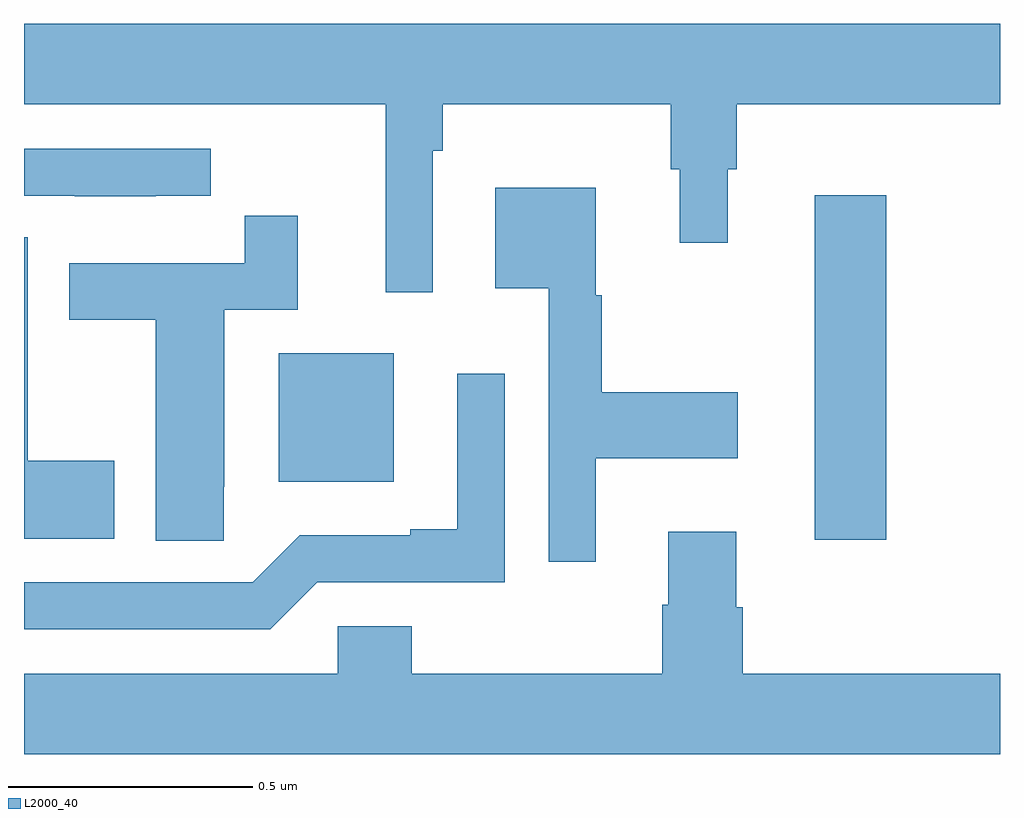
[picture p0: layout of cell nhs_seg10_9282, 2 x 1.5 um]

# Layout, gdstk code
import gdstk
lib = gdstk.Library(unit=1e-6, precision=1e-09)
def R(c, l, rs):  # rectangles x0, y0, x1, y1
    for r in rs: c.add(gdstk.rectangle(r[:2], r[2:], *l))
def P(c, l, *ps):  # polygons
    for p in ps: c.add(gdstk.Polygon(p, *l))
L2000_40 = (2000, 40)

nhs_seg10_9282 = lib.new_cell('nhs_seg10_9282')
R(nhs_seg10_9282, L2000_40, [(228.62,1311.411,228.767,1312.117), (227.522,1311.53,227.758,1311.793)])
P(nhs_seg10_9282, L2000_40, [(227.838,1312.208),(227.858,1312.208),(227.858,1312.304),(228.325,1312.304),(228.325,1312.17),(228.344,1312.17),(228.344,1312.02),(228.442,1312.02),(228.442,1312.17),(228.461,1312.17),(228.461,1312.304),(229,1312.304),(229,1312.468),(227,1312.468),(227,1312.304),(227.741,1312.304),(227.741,1311.918),(227.838,1311.918)],
  [(227.27,1312.116),(227.383,1312.116),(227.383,1312.212),(227,1312.212),(227,1312.116),(227.104,1312.116),(227.104,1312.115),(227.27,1312.115)],
  [(228.172,1311.578),(228.463,1311.578),(228.463,1311.713),(228.184,1311.713),(228.184,1311.912),(228.172,1311.912),(228.172,1312.132),(227.966,1312.132),(227.966,1311.926),(228.075,1311.926),(228.075,1311.366),(228.172,1311.366)],
  [(227.409,1311.52),(227.41,1311.52),(227.41,1311.882),(227.561,1311.882),(227.561,1312.075),(227.452,1312.075),(227.452,1311.978),(227.093,1311.978),(227.093,1311.862),(227.27,1311.862),(227.27,1311.409),(227.409,1311.409)],
  [(227.185,1311.573),(227.008,1311.573),(227.008,1312.031),(227,1312.031),(227,1311.413),(227.185,1311.413)],
  [(227.601,1311.324),(227.985,1311.324),(227.985,1311.751),(227.888,1311.751),(227.888,1311.433),(227.792,1311.433),(227.792,1311.42),(227.565,1311.42),(227.469,1311.324),(227,1311.324),(227,1311.228),(227.505,1311.228)],
  [(229,1311.136),(228.473,1311.136),(228.473,1311.273),(228.46,1311.273),(228.46,1311.427),(228.32,1311.427),(228.32,1311.278),(228.308,1311.278),(228.308,1311.136),(227.795,1311.136),(227.795,1311.234),(227.643,1311.234),(227.643,1311.136),(227,1311.136),(227,1310.972),(229,1310.972)])

lib.write_gds('nhs_seg10_9282.gds')
